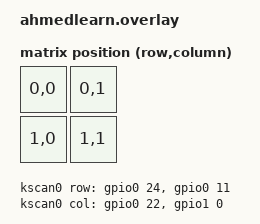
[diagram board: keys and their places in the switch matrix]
// Updated device tree overlay for ZMK compatibility
#include <dt-bindings/zmk/matrix_transform.h>
#include <behaviors.dtsi>
#include <dt-bindings/zmk/keys.h>
#include "ahmedlearn.dtsi"

/ {
    aliases {
        trackpad = &trackpad;
    };

    physical_layout0 {
        kscan = <&kscan0>;
        transform = <&transform0>;
    };

    transform0: transform0 {
        compatible = "zmk,matrix-transform";
        columns = <2>;
        rows = <2>;
        map = <
            RC(0,0) RC(0,1)
            RC(1,0) RC(1,1)
        >;
    };

    kscan0: kscan0 {
        compatible = "zmk,kscan-gpio-matrix";
        diode-direction = "col2row";

        col-gpios = <&gpio0 22 (GPIO_ACTIVE_HIGH | GPIO_PULL_DOWN)>   // Column 0
                  , <&gpio1 0 (GPIO_ACTIVE_HIGH | GPIO_PULL_DOWN)>;   // Column 1
        row-gpios = <&gpio0 24 (GPIO_ACTIVE_HIGH | GPIO_PULL_DOWN)>   // Row 0
                  , <&gpio0 11 (GPIO_ACTIVE_HIGH | GPIO_PULL_DOWN)>;  // Row 1
    };

    // Input listener for mouse events only (no keyboard events)
    trackpad_input_listener: trackpad_input_listener {
        compatible = "zmk,input-listener";
        device = <&trackpad>;

        // Mouse movement and click events go through input system
        // Gesture-based keyboard events (F3/F4) go through ZMK event system

        status = "okay";
    };
};

// Enable GPIO controllers
&gpio0 {
    status = "okay";
};

&gpio1 {
    status = "okay";
};

&i2c0 {
    status = "okay";
    clock-frequency = <I2C_BITRATE_FAST>;

    trackpad: trackpad@74 {
        compatible = "azoteq,iqs5xx";
        reg = <0x74>;
        dr-gpios = <&gpio1 6 GPIO_ACTIVE_HIGH>;
        status = "okay";

        // Enhanced configuration for better gesture detection
        sensitivity = <200>;
        refresh-rate-active = <5>;   // Faster refresh for better gesture detection
        refresh-rate-idle = <20>;

        // Enable taps and gestures for proper detection
        // Keyboard events (F3/F4) are handled by ZMK event system
        // Mouse events (clicks, movement) are handled by input system
    };
};
